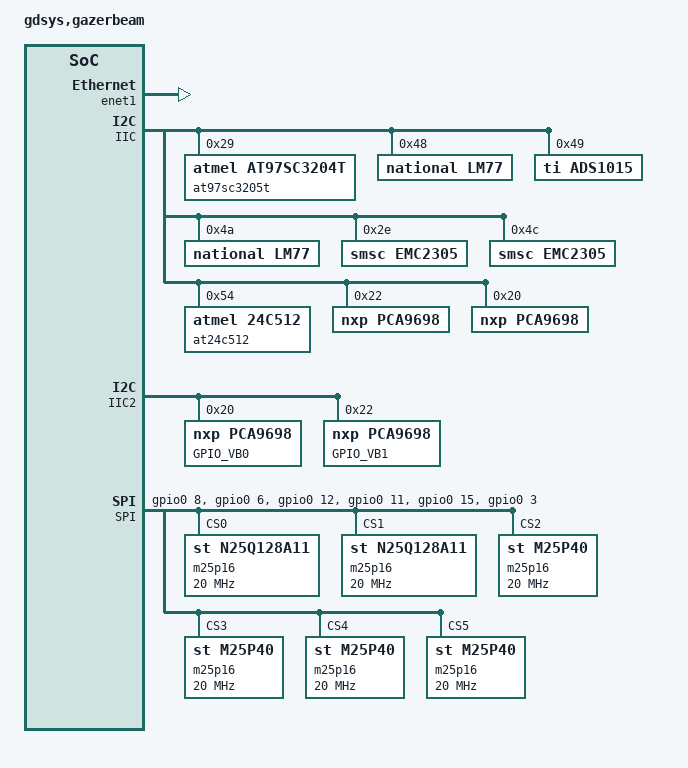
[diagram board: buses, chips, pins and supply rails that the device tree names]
/*
 * Gazerbeam Device Tree Source
 *
 * (C) Copyright 2015
 * Dirk Eibach, Guntermann & Drunck GmbH, eibach@gdsys.de
 *
 * This program is free software; you can redistribute  it and/or modify it
 * under  the terms of  the GNU General  Public License as published by the
 * Free Software Foundation;  either version 2 of the  License, or (at your
 * option) any later version.
 */

/ {
	model = "gdsys,gazerbeam";
	compatible = "fsl,mpc8308rdb";

	aliases {
		ethernet0 = &enet0;
		ethernet1 = &enet1;
	};

	memory {
		device_type = "memory";
	};
};

&enet1 {
	status = "okay";
};

&IIC {
	fsl,preserve-clocking;

	at97sc3205t@29 {
		compatible = "atmel,at97sc3204t";
		reg = <0x29>;
	};

	lm77@48 {
		compatible = "national,lm77";
		reg = <0x48>;
	};

	ads1015@49 {
		compatible = "ti,ads1015";
		reg = <0x49>;
	};

	lm77@4a {
		compatible = "national,lm77";
		reg = <0x4a>;
	};

	emc2305@2e {
		compatible = "smsc,emc2305";
		#address-cells = <1>;
		#size-cells = <0>;
		reg = <0x2e>;
		fan@0 {
			reg = <0>;
		};
		fan@1 {
			reg = <1>;
		};
		fan@2 {
			reg = <2>;
		};
		fan@3 {
			reg = <3>;
		};
		fan@4 {
			reg = <4>;
		};
	};

	emc2305@4c {
		compatible = "smsc,emc2305";
		#address-cells = <1>;
		#size-cells = <0>;
		reg = <0x4c>;
		fan@0 {
			reg = <0>;
		};
		fan@1 {
			reg = <1>;
		};
		fan@2 {
			reg = <2>;
		};
		fan@3 {
			reg = <3>;
		};
		fan@4 {
			reg = <4>;
		};
	};

	at24c512@54 {
		compatible = "atmel,24c512";
		reg = <0x54>;
	};

	/* PPC-Board */
	pca9698@22 {
		compatible = "nxp,pca9698";
		reg = <0x22>;
		#gpio-cells = <2>;
		gpio-controller;
	};

	/* IO-Board */
	pca9698@20 {
		compatible = "nxp,pca9698";
		reg = <0x20>;
		#gpio-cells = <2>;
		gpio-controller;
	};
};

&IIC2 {
	fsl,preserve-clocking;

	status = "okay";

	/* MC2/SC-Board */
	GPIO_VB0: pca9698@20 {
		compatible = "nxp,pca9698";
		reg = <0x20>;
		#gpio-cells = <2>;
		gpio-controller;
	};

	/* MC4-Board */
	GPIO_VB1: pca9698@22 {
		compatible = "nxp,pca9698";
		reg = <0x22>;
		#gpio-cells = <2>;
		gpio-controller;
	};
};

&SPI {
	gpios = < /*SPI-CSS-FPGA-U-FLASH#*/ &gpio0 8 0
		  /*SPI-CSS-FPGA-O-FLASH#*/ &gpio0 6 0
		  /*SPI-CSS-STDP1_U-FLASH#*/ &gpio0 12 0
		  /*SPI-CSS-STDP2_U-FLASH#*/ &gpio0 11 0
		  /*SPI-CSS-STDP1_O-FLASH#*/ &gpio0 15 0
		  /*SPI-CSS-STDP2_O-FLASH#*/ &gpio0 3 0>;

	m25p16@0 {
		compatible = "st,n25q128a11";
		reg = <0x0>;
		spi-max-frequency = <20000000>;
	};

	m25p16@1 {
		compatible = "st,n25q128a11";
		reg = <0x1>;
		spi-max-frequency = <20000000>;
	};

	m25p16@2 {
		compatible = "st,m25p40";
		reg = <0x2>;
		spi-max-frequency = <20000000>;
	};

	m25p16@3 {
		compatible = "st,m25p40";
		reg = <0x3>;
		spi-max-frequency = <20000000>;
	};

	m25p16@4 {
		compatible = "st,m25p40";
		reg = <0x4>;
		spi-max-frequency = <20000000>;
	};

	m25p16@5 {
		compatible = "st,m25p40";
		reg = <0x5>;
		spi-max-frequency = <20000000>;
	};
};
